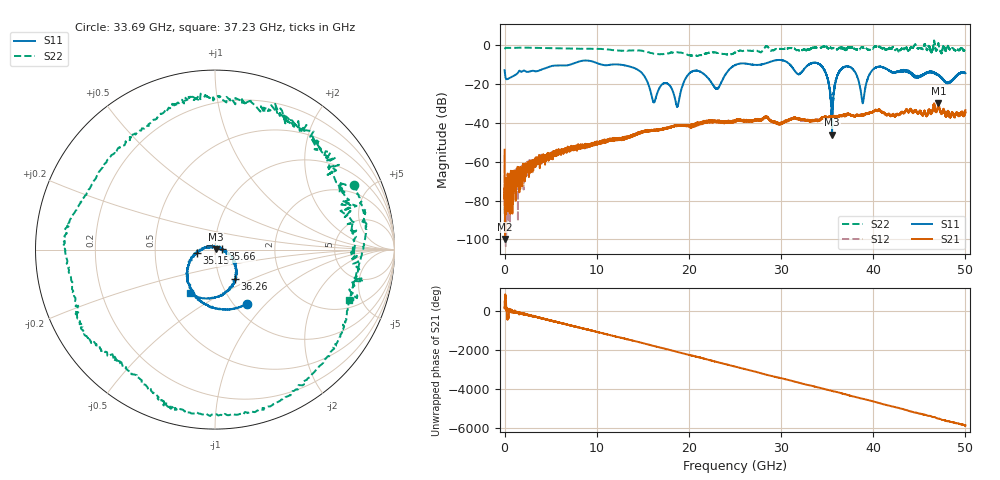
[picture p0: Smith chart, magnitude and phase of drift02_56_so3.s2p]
!Created with skrf (http://scikit-rf.org).
# Hz S RI R 50.0
!freq ReS11 ImS11 ReS21 ImS21 ReS12 ImS12 ReS22 ImS22
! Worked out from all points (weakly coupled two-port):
!   10001 points, 300 kHz to 50 GHz, reference 50 ohm
!   highest |S21| = -29.87 dB at 47.07 GHz (marker M1); lowest = -99.9 dB at 60.3 MHz (marker M2)
!   lowest |S11| = -46.1 dB at 35.53 GHz (marker M3), VSWR 1.01, Z = 50.4 + j0.313 ohm
!   |S11| at or under -10 dB: start of sweep to 7.178 GHz; 12.35 GHz to 25.18 GHz (12.83 GHz wide, 68.4 % of centre); 34.22 GHz to end of sweep (the widest 3 of 16)
!   |S22| runs from -5.7 to 2.4 dB; largest |S21 - S12| = 0.004
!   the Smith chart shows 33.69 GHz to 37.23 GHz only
!   S11 on the Smith chart (normalised r, x): 33.69 GHz: 1.14, -0.79; 35.15 GHz: 0.82, -0.03; 35.66 GHz: 1.08, +0.00; 36.26 GHz: 1.18, -0.40; 37.23 GHz: 0.68, -0.36
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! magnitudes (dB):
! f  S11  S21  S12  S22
! 300 kHz  -12.9  -53.9  -56.5  -2.1
! 60.3 MHz  -15.6  -99.9  -72.9  -1.6
! 255.3 MHz  -17.6  -69.0  -70.2  -1.4
! 8.335 GHz  -8.2  -52.1  -52.5  -1.9
! 14.03 GHz  -11.8  -46.3  -46.3  -2.8
! 16.67 GHz  -23.4  -43.4  -43.9  -4.7
! 18.74 GHz  -31.8  -41.3  -41.4  -3.7
! 20.24 GHz  -13.9  -41.8  -41.3  -5.4
! 23.03 GHz  -22.6  -39.6  -39.8  -4.1
! 25 GHz  -10.3  -38.7  -39.1  -3.9
! 33.34 GHz  -9.3  -38.6  -38.9  -1.6
! 33.69 GHz  -9.1  -38.6  -38.4  -1.3
! 35.15 GHz  -19.7  -37.0  -37.1  -1.8
! 35.53 GHz  -46.1  -36.8  -36.6  -1.7
! 35.66 GHz  -27.8  -36.7  -36.9  -1.5
! 36.26 GHz  -14.1  -36.4  -36.5  -1.7
! 37.23 GHz  -11.0  -35.6  -35.8  -2.0
! 38.86 GHz  -29.9  -36.0  -35.9  -1.3
! 39.96 GHz  -12.7  -34.2  -34.5  -1.8
! 41.67 GHz  -12.9  -35.5  -35.8  -1.9
! 47.07 GHz  -15.5  -29.9  -30.9  0.9
! 50 GHz  -14.5  -33.5  -35.1  -2.6
